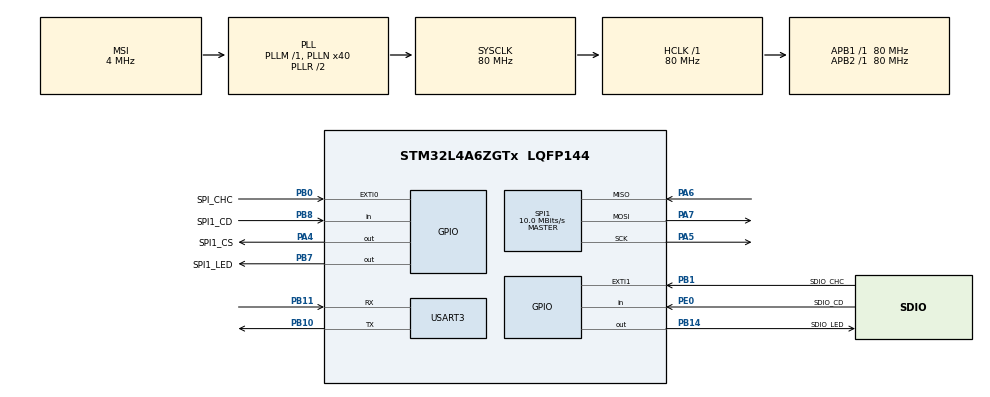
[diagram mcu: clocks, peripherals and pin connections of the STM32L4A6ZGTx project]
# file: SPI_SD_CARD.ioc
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FATFS._MAX_SS=4096
FATFS._USE_LFN=1
Mcu.Family=STM32L4
Mcu.Name=STM32L4A6ZGTx
Mcu.Package=LQFP144
NVIC.EXTI0_IRQn=true\:0\:0\:false\:false\:true\:true\:true
NVIC.EXTI1_IRQn=true\:0\:0\:false\:false\:true\:true\:true
NVIC.FLASH_IRQn=true\:0\:0\:false\:false\:true\:true\:true
NVIC.FPU_IRQn=true\:0\:0\:false\:false\:true\:true\:false
NVIC.PVD_PVM_IRQn=true\:0\:0\:false\:false\:true\:true\:true
NVIC.PriorityGroup=NVIC_PRIORITYGROUP_4
NVIC.RCC_IRQn=true\:0\:0\:false\:false\:true\:true\:false
NVIC.SPI1_IRQn=true\:0\:0\:false\:false\:true\:true\:true
NVIC.USART3_IRQn=true\:0\:0\:false\:false\:true\:true\:true
PA4.GPIO_Label=SPI1_CS
PA4.GPIO_Speed=GPIO_SPEED_FREQ_HIGH
PA4.PinState=GPIO_PIN_SET
PA4.Signal=GPIO_Output
PA5.Mode=Full_Duplex_Master
PA5.Signal=SPI1_SCK
PA6.Mode=Full_Duplex_Master
PA6.Signal=SPI1_MISO
PA7.Mode=Full_Duplex_Master
PA7.Signal=SPI1_MOSI
PB0.GPIO_Label=SPI_CHC
PB0.GPIO_ModeDefaultEXTI=GPIO_MODE_IT_FALLING
PB0.GPIO_PuPd=GPIO_PULLUP
PB0.Signal=GPXTI0
PB1.GPIO_Label=SDIO_CHC
PB1.GPIO_ModeDefaultEXTI=GPIO_MODE_IT_FALLING
PB1.GPIO_PuPd=GPIO_PULLUP
PB1.Signal=GPXTI1
PB10.Mode=Asynchronous
PB10.Signal=USART3_TX
PB11.Mode=Asynchronous
PB11.Signal=USART3_RX
PB14.GPIO_Label=SDIO_LED
PB14.Signal=GPIO_Output
PB7.GPIO_Label=SPI1_LED
PB7.Signal=GPIO_Output
PB8.GPIO_Label=SPI1_CD
PB8.Signal=GPIO_Input
PE0.GPIO_Label=SDIO_CD
PE0.Signal=GPIO_Input
ProjectManager.HeapSize=0x200
ProjectManager.StackSize=0x400
ProjectManager.TargetToolchain=STM32CubeIDE
RCC.AHBFreq_Value=80000000
RCC.APB1Freq_Value=80000000
RCC.APB1TimFreq_Value=80000000
RCC.APB2Freq_Value=80000000
RCC.APB2TimFreq_Value=80000000
RCC.CortexFreq_Value=80000000
RCC.HCLKFreq_Value=80000000
RCC.HSE_VALUE=8000000
RCC.HSI48_VALUE=48000000
RCC.HSI_VALUE=16000000
RCC.LSE_VALUE=32768
RCC.MSI_VALUE=4000000
RCC.PLLN=40
RCC.SYSCLKFreq_VALUE=80000000
RCC.SYSCLKSource=RCC_SYSCLKSOURCE_PLLCLK
RCC.VCOOutputFreq_Value=160000000
SPI1.BaudRatePrescaler=SPI_BAUDRATEPRESCALER_8
SPI1.CalculateBaudRate=10.0 MBits/s
SPI1.DataSize=SPI_DATASIZE_8BIT
SPI1.Direction=SPI_DIRECTION_2LINES
SPI1.Mode=SPI_MODE_MASTER
SPI1.VirtualType=VM_MASTER
USART3.VirtualMode-Asynchronous=VM_ASYNC
VP_FATFS_VS_Generic.Mode=User_defined
board=custom

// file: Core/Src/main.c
/* USER CODE BEGIN Header */
/**
  ******************************************************************************
  * @file           : main.c
  * @brief          : Main program body
  ******************************************************************************
  * @attention
  *
  * <h2><center>&copy; Copyright (c) 2020 STMicroelectronics.
  * All rights reserved.</center></h2>
  *
  * This software component is licensed by ST under BSD 3-Clause license,
  * the "License"; You may not use this file except in compliance with the
  * License. You may obtain a copy of the License at:
  *                        opensource.org/licenses/BSD-3-Clause
  *
  ******************************************************************************
  */
/* USER CODE END Header */
#include "main.h"
#include "fatfs.h"

/* USER CODE BEGIN Includes */
#include "fatfs_sd.h"
#include "string.h"
#include "sd.h"

/* USER CODE END Includes */

SPI_HandleTypeDef hspi1;

UART_HandleTypeDef huart3;

void SystemClock_Config(void);
static void MX_GPIO_Init(void);
static void MX_SPI1_Init(void);
static void MX_USART3_UART_Init(void);

/* USER CODE BEGIN 0 */
FATFS fs;
FIL fil;
FRESULT fresult;
char buffer[1024];
UINT br, bw;

FATFS *pfs;
DWORD fre_clust;
uint32_t total, free_space;

void send_uart(char *string)
{
	uint8_t len =strlen(string);
	HAL_UART_Transmit(&huart3, (uint8_t *) string, len, 2000);
}

int buff_size (char *buff)
{
	int i =0;
	while(*buff != '\0')
		i++;
	return i;
}
void bufclear(void)
{
	for(int i = 0; i<1024; i++)
	{
		buffer[i] = '\0';
	}
}
/* USER CODE END 0 */

int main(void)
{

  /* MCU Configuration--------------------------------------------------------*/

  /* Reset of all peripherals, Initializes the Flash interface and the Systick. */
  HAL_Init();

  /* Configure the system clock */
  SystemClock_Config();

  /* Initialize all configured peripherals */
  MX_GPIO_Init();
  MX_SPI1_Init();
  MX_USART3_UART_Init();
  MX_FATFS_Init();
  /* USER CODE BEGIN 2 */
  HAL_Delay(1000);

  fresult = f_mount(&fs, "1", 1);
  if(fresult == FR_OK)
  {
	  send_uart("SD CARD mount successfuly\n");

	  f_getfree("", &fre_clust, &pfs);

	  total = (uint32_t)((pfs->n_fatent-2)* pfs->csize * 0.5);
	  sprintf(buffer, "SD CARD Total size: \t%lu\n", total);
	  send_uart(buffer);
	  bufclear();
	  free_space = (uint32_t)(fre_clust * pfs->csize * 0.5);
	  sprintf(buffer, "SD CARD free size: \t%lu\n", free_space);
	  send_uart(buffer);
	  bufclear();

	  fresult = f_open(&fil, "file1.txt", FA_OPEN_ALWAYS | FA_READ | FA_WRITE);

	  fresult = f_puts("Pierwszy zapis na karcie SD\n", &fil);

	  fresult = f_close(&fil);

	  fresult = f_open(&fil, "file1.txt", FA_READ);

	  f_gets(buffer, sizeof(buffer), &fil);

	  send_uart(buffer);

	  f_close(&fil);

	  bufclear();
  }
  else
  	  send_uart("Error in monting SD CARD\n");

  /* USER CODE END 2 */

  /* Infinite loop */
  /* USER CODE BEGIN WHILE */
  while (1)
  {
	  //ConDetect(1);
	  HAL_Delay(1000);
    /* USER CODE END WHILE */

  }
}

void SystemClock_Config(void)
{
  RCC_OscInitTypeDef RCC_OscInitStruct = {0};
  RCC_ClkInitTypeDef RCC_ClkInitStruct = {0};
  RCC_PeriphCLKInitTypeDef PeriphClkInit = {0};

  /** Initializes the RCC Oscillators according to the specified parameters
  * in the RCC_OscInitTypeDef structure.
  */
  RCC_OscInitStruct.OscillatorType = RCC_OSCILLATORTYPE_MSI;
  RCC_OscInitStruct.MSIState = RCC_MSI_ON;
  RCC_OscInitStruct.MSICalibrationValue = 0;
  RCC_OscInitStruct.MSIClockRange = RCC_MSIRANGE_6;
  RCC_OscInitStruct.PLL.PLLState = RCC_PLL_ON;
  RCC_OscInitStruct.PLL.PLLSource = RCC_PLLSOURCE_MSI;
  RCC_OscInitStruct.PLL.PLLM = 1;
  RCC_OscInitStruct.PLL.PLLN = 40;
  RCC_OscInitStruct.PLL.PLLP = RCC_PLLP_DIV2;
  RCC_OscInitStruct.PLL.PLLQ = RCC_PLLQ_DIV2;
  RCC_OscInitStruct.PLL.PLLR = RCC_PLLR_DIV2;
  if (HAL_RCC_OscConfig(&RCC_OscInitStruct) != HAL_OK)
  {
    Error_Handler();
  }
  /** Initializes the CPU, AHB and APB buses clocks
  */
  RCC_ClkInitStruct.ClockType = RCC_CLOCKTYPE_HCLK|RCC_CLOCKTYPE_SYSCLK
                              |RCC_CLOCKTYPE_PCLK1|RCC_CLOCKTYPE_PCLK2;
  RCC_ClkInitStruct.SYSCLKSource = RCC_SYSCLKSOURCE_PLLCLK;
  RCC_ClkInitStruct.AHBCLKDivider = RCC_SYSCLK_DIV1;
  RCC_ClkInitStruct.APB1CLKDivider = RCC_HCLK_DIV1;
  RCC_ClkInitStruct.APB2CLKDivider = RCC_HCLK_DIV1;

  if (HAL_RCC_ClockConfig(&RCC_ClkInitStruct, FLASH_LATENCY_4) != HAL_OK)
  {
    Error_Handler();
  }
  PeriphClkInit.PeriphClockSelection = RCC_PERIPHCLK_USART3;
  PeriphClkInit.Usart3ClockSelection = RCC_USART3CLKSOURCE_PCLK1;
  if (HAL_RCCEx_PeriphCLKConfig(&PeriphClkInit) != HAL_OK)
  {
    Error_Handler();
  }
  /** Configure the main internal regulator output voltage
  */
  if (HAL_PWREx_ControlVoltageScaling(PWR_REGULATOR_VOLTAGE_SCALE1) != HAL_OK)
  {
    Error_Handler();
  }
}

static void MX_SPI1_Init(void)
{

  /* SPI1 parameter configuration*/
  hspi1.Instance = SPI1;
  hspi1.Init.Mode = SPI_MODE_MASTER;
  hspi1.Init.Direction = SPI_DIRECTION_2LINES;
  hspi1.Init.DataSize = SPI_DATASIZE_8BIT;
  hspi1.Init.CLKPolarity = SPI_POLARITY_LOW;
  hspi1.Init.CLKPhase = SPI_PHASE_1EDGE;
  hspi1.Init.NSS = SPI_NSS_SOFT;
  hspi1.Init.BaudRatePrescaler = SPI_BAUDRATEPRESCALER_8;
  hspi1.Init.FirstBit = SPI_FIRSTBIT_MSB;
  hspi1.Init.TIMode = SPI_TIMODE_DISABLE;
  hspi1.Init.CRCCalculation = SPI_CRCCALCULATION_DISABLE;
  hspi1.Init.CRCPolynomial = 7;
  hspi1.Init.CRCLength = SPI_CRC_LENGTH_DATASIZE;
  hspi1.Init.NSSPMode = SPI_NSS_PULSE_ENABLE;
  if (HAL_SPI_Init(&hspi1) != HAL_OK)
  {
    Error_Handler();
  }

}

static void MX_USART3_UART_Init(void)
{

  huart3.Instance = USART3;
  huart3.Init.BaudRate = 115200;
  huart3.Init.WordLength = UART_WORDLENGTH_8B;
  huart3.Init.StopBits = UART_STOPBITS_1;
  huart3.Init.Parity = UART_PARITY_NONE;
  huart3.Init.Mode = UART_MODE_TX_RX;
  huart3.Init.HwFlowCtl = UART_HWCONTROL_NONE;
  huart3.Init.OverSampling = UART_OVERSAMPLING_16;
  huart3.Init.OneBitSampling = UART_ONE_BIT_SAMPLE_DISABLE;
  huart3.AdvancedInit.AdvFeatureInit = UART_ADVFEATURE_NO_INIT;
  if (HAL_UART_Init(&huart3) != HAL_OK)
  {
    Error_Handler();
  }

}

static void MX_GPIO_Init(void)
{
  GPIO_InitTypeDef GPIO_InitStruct = {0};

  /* GPIO Ports Clock Enable */
  __HAL_RCC_GPIOA_CLK_ENABLE();
  __HAL_RCC_GPIOB_CLK_ENABLE();
  __HAL_RCC_GPIOE_CLK_ENABLE();

  /*Configure GPIO pin Output Level */
  HAL_GPIO_WritePin(SPI1_CS_GPIO_Port, SPI1_CS_Pin, GPIO_PIN_SET);

  /*Configure GPIO pin Output Level */
  HAL_GPIO_WritePin(GPIOB, SDIO_LED_Pin|SPI1_LED_Pin, GPIO_PIN_RESET);

  /*Configure GPIO pin : SPI1_CS_Pin */
  GPIO_InitStruct.Pin = SPI1_CS_Pin;
  GPIO_InitStruct.Mode = GPIO_MODE_OUTPUT_PP;
  GPIO_InitStruct.Pull = GPIO_NOPULL;
  GPIO_InitStruct.Speed = GPIO_SPEED_FREQ_HIGH;
  HAL_GPIO_Init(SPI1_CS_GPIO_Port, &GPIO_InitStruct);

  /*Configure GPIO pins : SPI_CHC_Pin SDIO_CHC_Pin */
  GPIO_InitStruct.Pin = SPI_CHC_Pin|SDIO_CHC_Pin;
  GPIO_InitStruct.Mode = GPIO_MODE_IT_FALLING;
  GPIO_InitStruct.Pull = GPIO_PULLUP;
  HAL_GPIO_Init(GPIOB, &GPIO_InitStruct);

  /*Configure GPIO pins : SDIO_LED_Pin SPI1_LED_Pin */
  GPIO_InitStruct.Pin = SDIO_LED_Pin|SPI1_LED_Pin;
  GPIO_InitStruct.Mode = GPIO_MODE_OUTPUT_PP;
  GPIO_InitStruct.Pull = GPIO_NOPULL;
  GPIO_InitStruct.Speed = GPIO_SPEED_FREQ_LOW;
  HAL_GPIO_Init(GPIOB, &GPIO_InitStruct);

  /*Configure GPIO pin : SPI1_CD_Pin */
  GPIO_InitStruct.Pin = SPI1_CD_Pin;
  GPIO_InitStruct.Mode = GPIO_MODE_INPUT;
  GPIO_InitStruct.Pull = GPIO_NOPULL;
  HAL_GPIO_Init(SPI1_CD_GPIO_Port, &GPIO_InitStruct);

  /*Configure GPIO pin : SDIO_CD_Pin */
  GPIO_InitStruct.Pin = SDIO_CD_Pin;
  GPIO_InitStruct.Mode = GPIO_MODE_INPUT;
  GPIO_InitStruct.Pull = GPIO_NOPULL;
  HAL_GPIO_Init(SDIO_CD_GPIO_Port, &GPIO_InitStruct);

  /* EXTI interrupt init*/
  HAL_NVIC_SetPriority(EXTI0_IRQn, 0, 0);
  HAL_NVIC_EnableIRQ(EXTI0_IRQn);

  HAL_NVIC_SetPriority(EXTI1_IRQn, 0, 0);
  HAL_NVIC_EnableIRQ(EXTI1_IRQn);

}

/* USER CODE BEGIN 4 */
void HAL_GPIO_EXTI_Callback(uint16_t GPIO_Pin)
{
	if(GPIO_Pin == SPI_CHC_Pin)
	{
		ConDetect(1);
		for(int i=0; i<1000; i++);
	}
	else if(GPIO_Pin == SDIO_CHC_Pin)
	{
		ConDetect(0);
		for(int i=0; i<1000; i++);
	}
}
/* USER CODE END 4 */

void Error_Handler(void)
{
}

/************************ (C) COPYRIGHT STMicroelectronics *****END OF FILE****/
